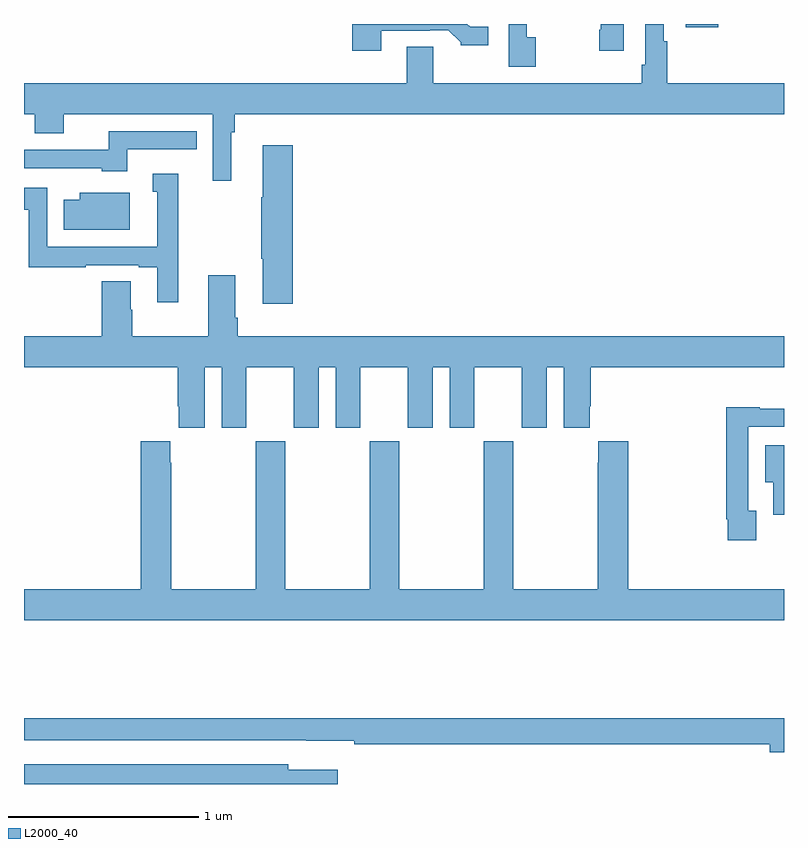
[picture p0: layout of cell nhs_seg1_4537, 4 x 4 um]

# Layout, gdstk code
import gdstk
lib = gdstk.Library(unit=1e-6, precision=1e-09)
def R(c, l, rs):  # rectangles x0, y0, x1, y1
    for r in rs: c.add(gdstk.rectangle(r[:2], r[2:], *l))
def P(c, l, *ps):  # polygons
    for p in ps: c.add(gdstk.Polygon(p, *l))
L2000_40 = (2000, 40)

nhs_seg1_4537 = lib.new_cell('nhs_seg1_4537')
R(nhs_seg1_4537, L2000_40, [(360.482,560.181,360.653,560.199)])
P(nhs_seg1_4537, L2000_40, [(358.09,559.628),(358.109,559.628),(358.109,559.724),(361,559.724),(361,559.888),(360.386,559.888),(360.386,560.108),(360.366,560.108),(360.366,560.199),(360.27,560.199),(360.27,559.984),(360.25,559.984),(360.25,559.888),(359.155,559.888),(359.155,560.078),(359.015,560.078),(359.015,559.888),(357,559.888),(357,559.724),(357.056,559.724),(357.056,559.625),(357.208,559.625),(357.208,559.724),(357.993,559.724),(357.993,559.374),(358.09,559.374)],
  [(359.694,560.13),(359.646,560.13),(359.646,560.199),(359.55,560.199),(359.55,559.974),(359.694,559.974)],
  [(360.157,560.199),(360.035,560.199),(360.035,560.17),(360.028,560.17),(360.028,560.058),(360.157,560.058)],
  [(358.879,560.163),(359.135,560.163),(359.135,560.166),(359.234,560.166),(359.298,560.102),(359.298,560.087),(359.443,560.087),(359.443,560.184),(359.349,560.184),(359.334,560.199),(358.727,560.199),(358.727,560.058),(358.879,560.058)],
  [(357.544,559.539),(357.908,559.539),(357.908,559.635),(357.445,559.635),(357.445,559.536),(357,559.536),(357,559.44),(357.408,559.44),(357.408,559.424),(357.544,559.424)],
  [(358.415,559.561),(358.256,559.561),(358.256,559.286),(358.249,559.286),(358.249,558.964),(358.256,558.964),(358.256,558.726),(358.415,558.726)],
  [(357.811,559.411),(357.677,559.411),(357.677,559.317),(357.701,559.317),(357.701,559.026),(357.123,559.026),(357.123,559.338),(357,559.338),(357,559.222),(357.025,559.222),(357.025,558.918),(357.326,558.918),(357.326,558.93),(357.605,558.93),(357.605,558.918),(357.701,558.918),(357.701,558.735),(357.811,558.735)],
  [(357.556,559.312),(357.293,559.312),(357.293,559.273),(357.208,559.273),(357.208,559.115),(357.556,559.115)],
  [(357.952,558.392),(358.04,558.392),(358.04,558.075),(358.171,558.075),(358.171,558.392),(358.421,558.392),(358.421,558.075),(358.552,558.075),(358.552,558.392),(358.64,558.392),(358.64,558.075),(358.771,558.075),(358.771,558.392),(359.021,558.392),(359.021,558.075),(359.152,558.075),(359.152,558.392),(359.24,558.392),(359.24,558.075),(359.371,558.075),(359.371,558.392),(359.621,558.392),(359.621,558.075),(359.752,558.075),(359.752,558.392),(359.84,558.392),(359.84,558.075),(359.977,558.075),(359.977,558.187),(359.984,558.187),(359.984,558.392),(361,558.392),(361,558.556),(358.124,558.556),(358.124,558.652),(358.111,558.652),(358.111,558.877),(357.971,558.877),(357.971,558.556),(357.57,558.556),(357.57,558.695),(357.562,558.695),(357.562,558.845),(357.41,558.845),(357.41,558.556),(357,558.556),(357,558.392),(357.809,558.392),(357.809,558.187),(357.815,558.187),(357.815,558.075),(357.952,558.075)],
  [(360.853,557.637),(360.813,557.637),(360.813,558.078),(361,558.078),(361,558.174),(360.873,558.174),(360.873,558.181),(360.697,558.181),(360.697,557.593),(360.705,557.593),(360.705,557.481),(360.853,557.481)],
  [(361,557.224),(360.179,557.224),(360.179,558.004),(360.023,558.004),(360.023,557.891),(360.019,557.891),(360.019,557.224),(359.574,557.224),(359.574,558.004),(359.419,558.004),(359.419,557.224),(358.974,557.224),(358.974,558.004),(358.819,558.004),(358.819,557.224),(358.374,557.224),(358.374,558.004),(358.219,558.004),(358.219,557.224),(357.774,557.224),(357.774,557.891),(357.769,557.891),(357.769,558.004),(357.614,558.004),(357.614,557.224),(357,557.224),(357,557.06),(361,557.06)],
  [(361,557.983),(360.902,557.983),(360.902,557.786),(360.944,557.786),(360.944,557.617),(361,557.617)],
  [(361,556.544),(357,556.544),(357,556.428),(358.486,556.428),(358.486,556.427),(358.738,556.427),(358.738,556.408),(360.926,556.408),(360.926,556.366),(361,556.366)],
  [(358.651,556.273),(358.39,556.273),(358.39,556.302),(357,556.302),(357,556.199),(358.651,556.199)])

lib.write_gds('nhs_seg1_4537.gds')
